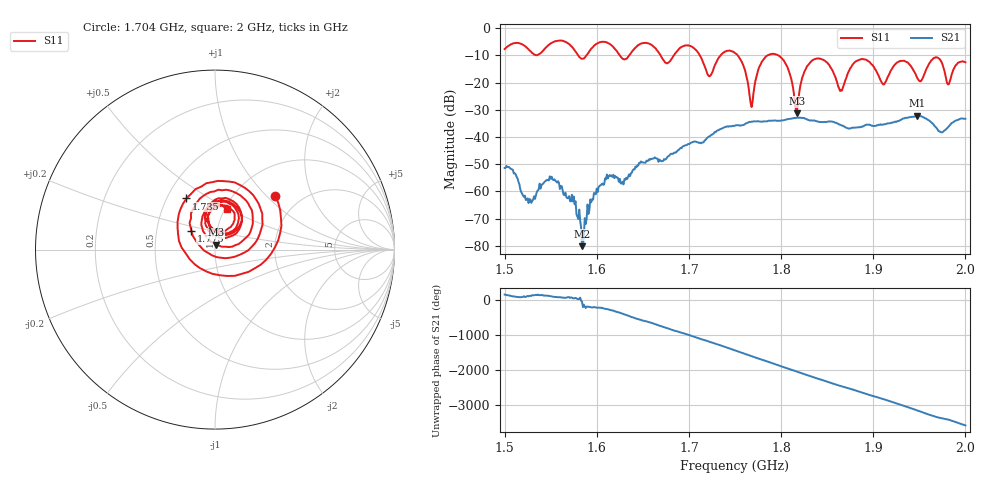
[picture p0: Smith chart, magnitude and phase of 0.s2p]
! NanoVNA-App by SYSJOINT et al v1.1.209 (+OD18)
! Date: 2026-01-21 14:48:38
! Start: 1,5GHz Stop: 2GHz Points: 501
! S-Parameter data: F S11 S21 S12 S22
# Hz S RI R 50
!  Frequency  S11_Real  S11_Imag  S21_Real  S21_Imag  S12_Real  S12_Imag  S22_Real  S22_Imag
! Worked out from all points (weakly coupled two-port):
!   501 points, 1.5 GHz to 2 GHz, reference 50 ohm
!   highest |S21| = -32.17 dB at 1.948 GHz (marker M1); lowest = -80.1 dB at 1.584 GHz (marker M2)
!   lowest |S11| = -31.2 dB at 1.817 GHz (marker M3), VSWR 1.06, Z = 50.4 + j2.74 ohm
!   |S11| at or under -10 dB: 1.712 GHz to 1.734 GHz (22.39 MHz wide, 1.3 % of centre); 1.753 GHz to 1.785 GHz (32.34 MHz wide, 1.83 % of centre); 1.797 GHz to end of sweep (the widest 3 of 6)
!   S12 and S22 are empty: the file has one direction only
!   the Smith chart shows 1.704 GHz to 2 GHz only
!   S11 on the Smith chart (normalised r, x): 1.704 GHz: 1.51, +1.12; 1.735 GHz: 0.63, +0.40; 1.775 GHz: 0.75, +0.16; 2 GHz: 1.03, +0.49
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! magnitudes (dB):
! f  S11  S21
! 1.5 GHz  -7.7  -51.4
! 1.528 GHz  -8.4  -63.0
! 1.557 GHz  -4.6  -56.7
! 1.575 GHz  -7.6  -61.8
! 1.584 GHz  -11.2  -80.1
! 1.611 GHz  -5.2  -53.8
! 1.667 GHz  -8.8  -49.1
! 1.704 GHz  -7.0  -41.8
! 1.722 GHz  -17.7  -39.8
! 1.735 GHz  -9.7  -37.0
! 1.75 GHz  -9.0  -35.7
! 1.768 GHz  -29.0  -34.3
! 1.775 GHz  -15.5  -34.2
! 1.799 GHz  -10.4  -34.0
! 1.817 GHz  -31.2  -32.9
! 1.834 GHz  -11.8  -33.9
! 1.865 GHz  -22.7  -35.6
! 1.886 GHz  -11.5  -36.3
! 1.917 GHz  -17.2  -35.0
! 1.932 GHz  -12.0  -33.2
! 1.948 GHz  -18.4  -32.2
! 2 GHz  -12.5  -33.3
